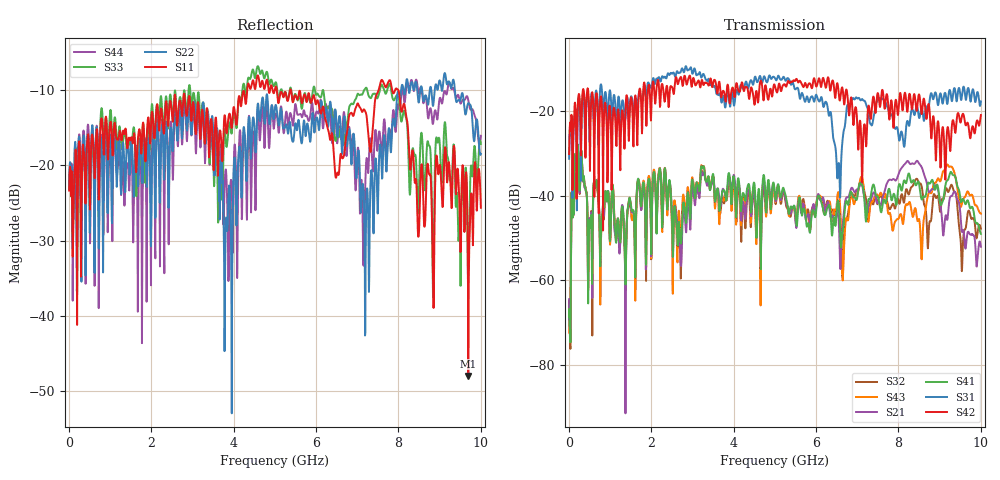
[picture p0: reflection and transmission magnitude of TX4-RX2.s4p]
# Hz S  RI  R 50
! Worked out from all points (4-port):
!   1601 points, 10 MHz to 10 GHz, reference 50 ohm
!   strongest paths, dB at 10 MHz, 2.507 GHz, 5.005 GHz, 7.503 GHz, 10 GHz:
!     S42: -30.2, -14.4, -14.2, -15.8, -21.0
!     S31: -31.3, -11.2, -12.3, -17.4, -17.8
!     S41: -68.6, -46.2, -39.9, -40.3, -49.0
!     S21: -64.4, -44.1, -40.2, -41.6, -52.0
!     S43: -67.3, -48.7, -40.9, -40.0, -44.2
!     S32: -64.9, -46.4, -41.1, -41.7, -47.8
!   lowest |S11| = -48.0 dB at 9.694 GHz (marker M1), VSWR 1.01, Z = 49.6 + j0.124 ohm
!   |S11| at or under -10 dB: start of sweep to 4.33 GHz; 5.392 GHz to 7.519 GHz (2.127 GHz wide, 33 % of centre); 7.996 GHz to end of sweep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
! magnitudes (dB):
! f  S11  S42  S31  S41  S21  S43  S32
! 10 MHz  -23.4  -30.2  -31.3  -68.6  -64.4  -67.3  -64.9
! 197.3 MHz  -28.9  -32.5  -43.5  -33.8  -33.7  -33.9  -33.9
! 1.371 GHz  -15.2  -22.1  -22.2  -56.9  -61.7  -54.5  -60.3
! 6.553 GHz  -21.2  -16.1  -32.3  -42.2  -46.5  -39.3  -43.1
! 7.777 GHz  -8.7  -22.0  -20.5  -38.4  -36.3  -44.1  -43.1
! 9.694 GHz  -48.0  -23.2  -14.6  -41.4  -48.5  -39.2  -43.6
! 10 GHz  -25.6  -21.0  -17.8  -49.0  -52.0  -44.2  -47.8
